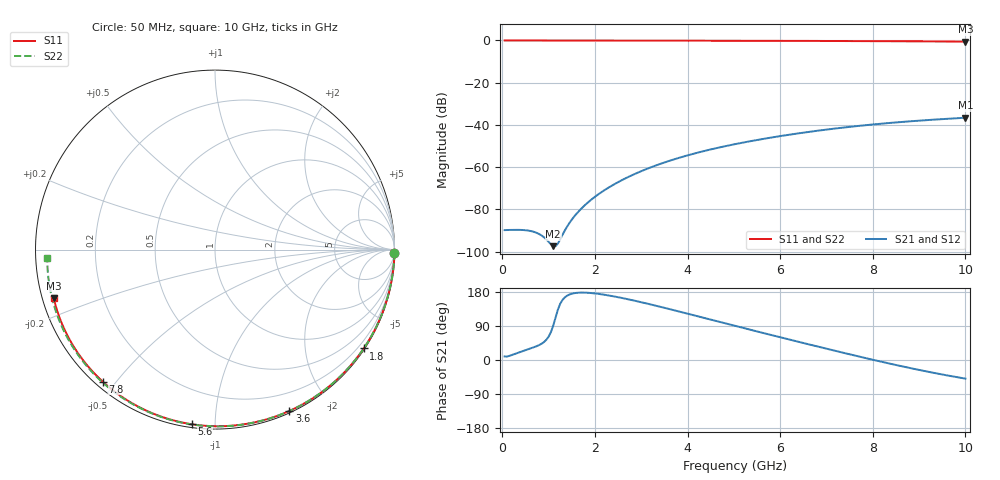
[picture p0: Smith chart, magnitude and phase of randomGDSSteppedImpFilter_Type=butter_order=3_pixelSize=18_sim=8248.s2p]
! freq	dB(S11)	phase(S11)	dB(S12)	phase(S12)
!  dB(S21)	phase(S21)	dB(S22)	phase(S22)
!S-par simulation data
#  GHz  S  DB  R 50
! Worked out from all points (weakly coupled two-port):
!   200 points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, 50 MHz to 10 GHz, reference 50 ohm
!   highest |S21| = -36.60 dB at 10 GHz (marker M1); lowest = -97.4 dB at 1.1 GHz (marker M2)
!   lowest |S11| = -0.6 dB at 10 GHz (marker M3), VSWR 31.40, Z = 1.63 - j7.32 ohm
!   |S11| at or under -10 dB: nowhere
!   |S22| runs from -0.6 to 0.0 dB; largest |S21 - S12| = 0
!   S11 on the Smith chart (normalised r, x): 50 MHz: open; 1.8 GHz: 0.03, -3.31; 3.6 GHz: 0.02, -1.56; 5.6 GHz: 0.02, -0.88; 7.8 GHz: 0.02, -0.46; 10 GHz: 0.03, -0.15
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0.05  -0.00 -1.0  -89.84 9.4  -89.84 9.4  -0.00 -1.0
0.55  -0.01 -10.4  -90.02 28.2  -90.02 28.2  -0.01 -11.4
1.1  -0.03 -20.7  -97.45 90.8  -97.45 90.8  -0.03 -22.7
1.65  -0.04 -30.9  -80.93 177.6  -80.93 177.6  -0.04 -33.8
1.7  -0.04 -31.8  -79.79 177.9  -79.79 177.9  -0.04 -34.8
1.75  -0.04 -32.7  -78.71 177.9  -78.71 177.9  -0.05 -35.8
1.8  -0.04 -33.6  -77.68 177.7  -77.68 177.7  -0.05 -36.8
2.1  -0.05 -39.0  -72.48 174.1  -72.48 174.1  -0.05 -42.7
2.5  -0.06 -46.2  -67.12 165.7  -67.12 165.7  -0.07 -50.5
2.9  -0.07 -53.2  -62.86 155.3  -62.86 155.3  -0.08 -58.1
3.4  -0.08 -61.9  -58.56 140.8  -58.56 140.8  -0.09 -67.5
3.6  -0.09 -65.3  -57.07 134.7  -57.07 134.7  -0.10 -71.1
4.3  -0.11 -76.9  -52.69 112.9  -52.69 112.9  -0.12 -83.7
5.05  -0.14 -89.0  -49.01 89.4  -49.01 89.4  -0.15 -96.7
5.6  -0.16 -97.6  -46.76 72.3  -46.76 72.3  -0.18 -106.0
6.15  -0.19 -106.0  -44.80 55.5  -44.80 55.5  -0.21 -115.0
6.7  -0.22 -114.2  -43.07 38.8  -43.07 38.8  -0.24 -123.9
7.25  -0.26 -122.3  -41.55 22.4  -41.55 22.4  -0.28 -132.7
7.8  -0.30 -130.4  -40.24 6.3  -40.24 6.3  -0.33 -141.5
8.35  -0.35 -138.4  -39.11 -9.1  -39.11 -9.1  -0.38 -150.2
9.2  -0.44 -151.0  -37.69 -31.1  -37.69 -31.1  -0.47 -163.8
10  -0.55 -163.3  -36.60 -49.1  -36.60 -49.1  -0.58 -177.1
